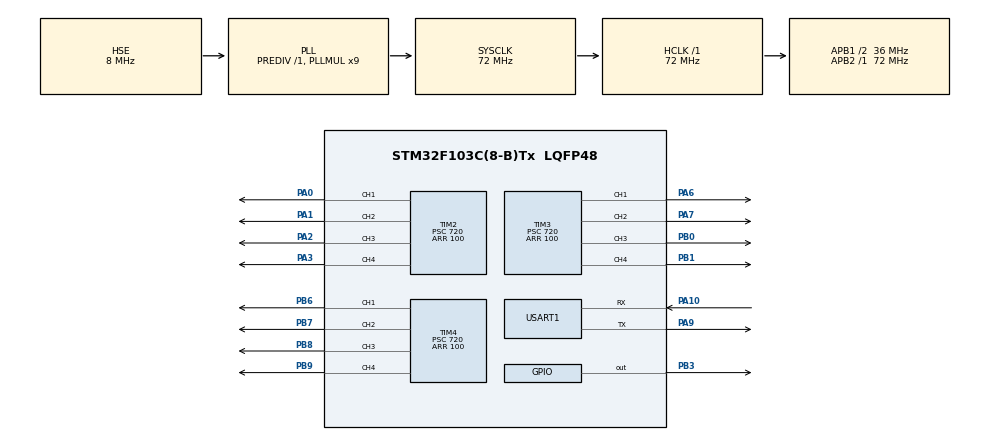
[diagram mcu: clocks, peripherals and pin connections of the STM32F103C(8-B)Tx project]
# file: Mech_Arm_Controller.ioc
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Mcu.Family=STM32F1
Mcu.Name=STM32F103C(8-B)Tx
Mcu.Package=LQFP48
NVIC.PriorityGroup=NVIC_PRIORITYGROUP_4
NVIC.TIM1_UP_IRQn=true\:0\:0\:false\:true\:true\:2\:true
NVIC.USART1_IRQn=true\:0\:0\:false\:true\:true\:1\:true
PA0-WKUP.Signal=S_TIM2_CH1_ETR
PA1.Signal=S_TIM2_CH2
PA10.Mode=Asynchronous
PA10.Signal=USART1_RX
PA13.Mode=Serial_Wire
PA13.Signal=SYS_JTMS-SWDIO
PA14.Mode=Serial_Wire
PA14.Signal=SYS_JTCK-SWCLK
PA2.Signal=S_TIM2_CH3
PA3.Signal=S_TIM2_CH4
PA6.Signal=S_TIM3_CH1
PA7.Signal=S_TIM3_CH2
PA9.Mode=Asynchronous
PA9.Signal=USART1_TX
PB0.Signal=S_TIM3_CH3
PB1.Signal=S_TIM3_CH4
PB3.Signal=GPIO_Output
PB6.Signal=S_TIM4_CH1
PB7.Signal=S_TIM4_CH2
PB8.Signal=S_TIM4_CH3
PB9.Signal=S_TIM4_CH4
PD0-OSC_IN.Mode=HSE-External-Oscillator
PD0-OSC_IN.Signal=RCC_OSC_IN
PD1-OSC_OUT.Mode=HSE-External-Oscillator
PD1-OSC_OUT.Signal=RCC_OSC_OUT
ProjectManager.HeapSize=0x200
ProjectManager.StackSize=0x400
ProjectManager.TargetToolchain=MDK-ARM V5
RCC.AHBFreq_Value=72000000
RCC.APB1CLKDivider=RCC_HCLK_DIV2
RCC.APB1Freq_Value=36000000
RCC.APB1TimFreq_Value=72000000
RCC.APB2Freq_Value=72000000
RCC.APB2TimFreq_Value=72000000
RCC.HCLKFreq_Value=72000000
RCC.PLLMUL=RCC_PLL_MUL9
RCC.PLLSourceVirtual=RCC_PLLSOURCE_HSE
RCC.SYSCLKFreq_VALUE=72000000
RCC.SYSCLKSource=RCC_SYSCLKSOURCE_PLLCLK
RCC.USBFreq_Value=72000000
SH.S_TIM2_CH1_ETR.0=TIM2_CH1,PWM Generation1 CH1
SH.S_TIM2_CH2.0=TIM2_CH2,PWM Generation2 CH2
SH.S_TIM2_CH3.0=TIM2_CH3,PWM Generation3 CH3
SH.S_TIM2_CH4.0=TIM2_CH4,PWM Generation4 CH4
SH.S_TIM3_CH1.0=TIM3_CH1,PWM Generation1 CH1
SH.S_TIM3_CH2.0=TIM3_CH2,PWM Generation2 CH2
SH.S_TIM3_CH3.0=TIM3_CH3,PWM Generation3 CH3
SH.S_TIM3_CH4.0=TIM3_CH4,PWM Generation4 CH4
SH.S_TIM4_CH1.0=TIM4_CH1,PWM Generation1 CH1
SH.S_TIM4_CH2.0=TIM4_CH2,PWM Generation2 CH2
SH.S_TIM4_CH3.0=TIM4_CH3,PWM Generation3 CH3
SH.S_TIM4_CH4.0=TIM4_CH4,PWM Generation4 CH4
TIM1.Period=1000
TIM1.Prescaler=720
TIM2.Channel-PWM\ Generation1\ CH1=TIM_CHANNEL_1
TIM2.Channel-PWM\ Generation2\ CH2=TIM_CHANNEL_2
TIM2.Channel-PWM\ Generation3\ CH3=TIM_CHANNEL_3
TIM2.Channel-PWM\ Generation4\ CH4=TIM_CHANNEL_4
TIM2.OCFastMode_PWM-PWM\ Generation1\ CH1=TIM_OCFAST_ENABLE
TIM2.OCFastMode_PWM-PWM\ Generation2\ CH2=TIM_OCFAST_ENABLE
TIM2.OCFastMode_PWM-PWM\ Generation3\ CH3=TIM_OCFAST_ENABLE
TIM2.OCFastMode_PWM-PWM\ Generation4\ CH4=TIM_OCFAST_ENABLE
TIM2.Period=100
TIM2.Prescaler=720
TIM2.Pulse-PWM\ Generation1\ CH1=0
TIM2.Pulse-PWM\ Generation2\ CH2=0
TIM2.Pulse-PWM\ Generation3\ CH3=0
TIM2.Pulse-PWM\ Generation4\ CH4=0
TIM3.Channel-PWM\ Generation1\ CH1=TIM_CHANNEL_1
TIM3.Channel-PWM\ Generation2\ CH2=TIM_CHANNEL_2
TIM3.Channel-PWM\ Generation3\ CH3=TIM_CHANNEL_3
TIM3.Channel-PWM\ Generation4\ CH4=TIM_CHANNEL_4
TIM3.OCFastMode_PWM-PWM\ Generation1\ CH1=TIM_OCFAST_ENABLE
TIM3.OCFastMode_PWM-PWM\ Generation2\ CH2=TIM_OCFAST_ENABLE
TIM3.OCFastMode_PWM-PWM\ Generation3\ CH3=TIM_OCFAST_ENABLE
TIM3.OCFastMode_PWM-PWM\ Generation4\ CH4=TIM_OCFAST_ENABLE
TIM3.Period=100
TIM3.Prescaler=720
TIM3.Pulse-PWM\ Generation1\ CH1=0
TIM3.Pulse-PWM\ Generation2\ CH2=0
TIM3.Pulse-PWM\ Generation3\ CH3=0
TIM3.Pulse-PWM\ Generation4\ CH4=0
TIM4.Channel-PWM\ Generation1\ CH1=TIM_CHANNEL_1
TIM4.Channel-PWM\ Generation2\ CH2=TIM_CHANNEL_2
TIM4.Channel-PWM\ Generation3\ CH3=TIM_CHANNEL_3
TIM4.Channel-PWM\ Generation4\ CH4=TIM_CHANNEL_4
TIM4.OCFastMode_PWM-PWM\ Generation1\ CH1=TIM_OCFAST_ENABLE
TIM4.OCFastMode_PWM-PWM\ Generation2\ CH2=TIM_OCFAST_ENABLE
TIM4.OCFastMode_PWM-PWM\ Generation3\ CH3=TIM_OCFAST_ENABLE
TIM4.OCFastMode_PWM-PWM\ Generation4\ CH4=TIM_OCFAST_ENABLE
TIM4.Period=100
TIM4.Prescaler=720
TIM4.Pulse-PWM\ Generation1\ CH1=0
TIM4.Pulse-PWM\ Generation2\ CH2=0
TIM4.Pulse-PWM\ Generation3\ CH3=0
TIM4.Pulse-PWM\ Generation4\ CH4=0
USART1.VirtualMode=VM_ASYNC
VP_TIM1_VS_ClockSourceINT.Mode=Internal
board=custom

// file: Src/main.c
/**
  ******************************************************************************
  * @file           : main.c
  * @brief          : Main program body
  ******************************************************************************
  ** This notice applies to any and all portions of this file
  * that are not between comment pairs USER CODE BEGIN and
  * USER CODE END. Other portions of this file, whether
  * inserted by the user or by software development tools
  * are owned by their respective copyright owners.
  *
  * COPYRIGHT(c) 2020 STMicroelectronics
  *
  * Redistribution and use in source and binary forms, with or without modification,
  * are permitted provided that the following conditions are met:
  *   1. Redistributions of source code must retain the above copyright notice,
  *      this list of conditions and the following disclaimer.
  *   2. Redistributions in binary form must reproduce the above copyright notice,
  *      this list of conditions and the following disclaimer in the documentation
  *      and/or other materials provided with the distribution.
  *   3. Neither the name of STMicroelectronics nor the names of its contributors
  *      may be used to endorse or promote products derived from this software
  *      without specific prior written permission.
  *
  * THIS SOFTWARE IS PROVIDED BY THE COPYRIGHT HOLDERS AND CONTRIBUTORS "AS IS"
  * AND ANY EXPRESS OR IMPLIED WARRANTIES, INCLUDING, BUT NOT LIMITED TO, THE
  * IMPLIED WARRANTIES OF MERCHANTABILITY AND FITNESS FOR A PARTICULAR PURPOSE ARE
  * DISCLAIMED. IN NO EVENT SHALL THE COPYRIGHT HOLDER OR CONTRIBUTORS BE LIABLE
  * FOR ANY DIRECT, INDIRECT, INCIDENTAL, SPECIAL, EXEMPLARY, OR CONSEQUENTIAL
  * DAMAGES (INCLUDING, BUT NOT LIMITED TO, PROCUREMENT OF SUBSTITUTE GOODS OR
  * SERVICES; LOSS OF USE, DATA, OR PROFITS; OR BUSINESS INTERRUPTION) HOWEVER
  * CAUSED AND ON ANY THEORY OF LIABILITY, WHETHER IN CONTRACT, STRICT LIABILITY,
  * OR TORT (INCLUDING NEGLIGENCE OR OTHERWISE) ARISING IN ANY WAY OUT OF THE USE
  * OF THIS SOFTWARE, EVEN IF ADVISED OF THE POSSIBILITY OF SUCH DAMAGE.
  *
  ******************************************************************************
  */
#include "main.h"
#include "stm32f1xx_hal.h"
#include "tim.h"
#include "usart.h"
#include "gpio.h"

/* USER CODE BEGIN PV */
/* Private variables ---------------------------------------------------------*/
extern uint8_t aRxBuffer1[1];
extern void Command_Recv(void);
extern void motor_tick_update(void);
extern void Motor_Exec(void);
/* USER CODE END PV */

void SystemClock_Config(void);
static void MX_NVIC_Init(void);

/* USER CODE BEGIN PFP */
/* Private function prototypes -----------------------------------------------*/

/* USER CODE END PFP */

int main(void)
{

  /* MCU Configuration----------------------------------------------------------*/

  /* Reset of all peripherals, Initializes the Flash interface and the Systick. */
  HAL_Init();

  /* Configure the system clock */
  SystemClock_Config();

  /* Initialize all configured peripherals */
  MX_GPIO_Init();
  MX_USART1_UART_Init();
  MX_TIM4_Init();
  MX_TIM2_Init();
  MX_TIM3_Init();
  MX_TIM1_Init();

  /* Initialize interrupts */
  MX_NVIC_Init();
  /* USER CODE BEGIN 2 */
	HAL_UART_Receive_IT(&huart1, (uint8_t *)aRxBuffer1, 1);
	HAL_TIM_Base_Start_IT(&htim1);
	HAL_TIM_PWM_Start(&htim2,TIM_CHANNEL_1);
	HAL_TIM_PWM_Start(&htim2,TIM_CHANNEL_2);
	HAL_TIM_PWM_Start(&htim2,TIM_CHANNEL_3);
	HAL_TIM_PWM_Start(&htim2,TIM_CHANNEL_4);
	HAL_TIM_PWM_Start(&htim3,TIM_CHANNEL_1);
	HAL_TIM_PWM_Start(&htim3,TIM_CHANNEL_2);
	HAL_TIM_PWM_Start(&htim3,TIM_CHANNEL_3);
	HAL_TIM_PWM_Start(&htim3,TIM_CHANNEL_4);
	HAL_TIM_PWM_Start(&htim4,TIM_CHANNEL_1);
	HAL_TIM_PWM_Start(&htim4,TIM_CHANNEL_2);
	HAL_TIM_PWM_Start(&htim4,TIM_CHANNEL_3);
	HAL_TIM_PWM_Start(&htim4,TIM_CHANNEL_4);
  /* USER CODE END 2 */

  /* Infinite loop */
  while (1)
  {

  /* USER CODE BEGIN 3 */
	Command_Recv();
	Motor_Exec();
  }
  /* USER CODE END 3 */

}

void SystemClock_Config(void)
{

  RCC_OscInitTypeDef RCC_OscInitStruct;
  RCC_ClkInitTypeDef RCC_ClkInitStruct;

    /**Initializes the CPU, AHB and APB busses clocks
    */
  RCC_OscInitStruct.OscillatorType = RCC_OSCILLATORTYPE_HSE;
  RCC_OscInitStruct.HSEState = RCC_HSE_ON;
  RCC_OscInitStruct.HSEPredivValue = RCC_HSE_PREDIV_DIV1;
  RCC_OscInitStruct.HSIState = RCC_HSI_ON;
  RCC_OscInitStruct.PLL.PLLState = RCC_PLL_ON;
  RCC_OscInitStruct.PLL.PLLSource = RCC_PLLSOURCE_HSE;
  RCC_OscInitStruct.PLL.PLLMUL = RCC_PLL_MUL9;
  if (HAL_RCC_OscConfig(&RCC_OscInitStruct) != HAL_OK)
  {
    _Error_Handler(__FILE__, __LINE__);
  }

    /**Initializes the CPU, AHB and APB busses clocks
    */
  RCC_ClkInitStruct.ClockType = RCC_CLOCKTYPE_HCLK|RCC_CLOCKTYPE_SYSCLK
                              |RCC_CLOCKTYPE_PCLK1|RCC_CLOCKTYPE_PCLK2;
  RCC_ClkInitStruct.SYSCLKSource = RCC_SYSCLKSOURCE_PLLCLK;
  RCC_ClkInitStruct.AHBCLKDivider = RCC_SYSCLK_DIV1;
  RCC_ClkInitStruct.APB1CLKDivider = RCC_HCLK_DIV2;
  RCC_ClkInitStruct.APB2CLKDivider = RCC_HCLK_DIV1;

  if (HAL_RCC_ClockConfig(&RCC_ClkInitStruct, FLASH_LATENCY_2) != HAL_OK)
  {
    _Error_Handler(__FILE__, __LINE__);
  }

    /**Configure the Systick interrupt time
    */
  HAL_SYSTICK_Config(HAL_RCC_GetHCLKFreq()/1000);

    /**Configure the Systick
    */
  HAL_SYSTICK_CLKSourceConfig(SYSTICK_CLKSOURCE_HCLK);

  /* SysTick_IRQn interrupt configuration */
  HAL_NVIC_SetPriority(SysTick_IRQn, 0, 0);
}

/**
  * @brief NVIC Configuration.
  * @retval None
  */
static void MX_NVIC_Init(void)
{
  /* USART1_IRQn interrupt configuration */
  HAL_NVIC_SetPriority(USART1_IRQn, 0, 0);
  HAL_NVIC_EnableIRQ(USART1_IRQn);
  /* TIM1_UP_IRQn interrupt configuration */
  HAL_NVIC_SetPriority(TIM1_UP_IRQn, 0, 0);
  HAL_NVIC_EnableIRQ(TIM1_UP_IRQn);
}

/* USER CODE BEGIN 4 */
void HAL_TIM_PeriodElapsedCallback(TIM_HandleTypeDef *htim)

{

if (htim->Instance == htim1.Instance)
	{
		motor_tick_update();
	}
}
/* USER CODE END 4 */

void _Error_Handler(char *file, int line)
{
  while(1)
  {
  }
}

/************************ (C) COPYRIGHT STMicroelectronics *****END OF FILE****/
